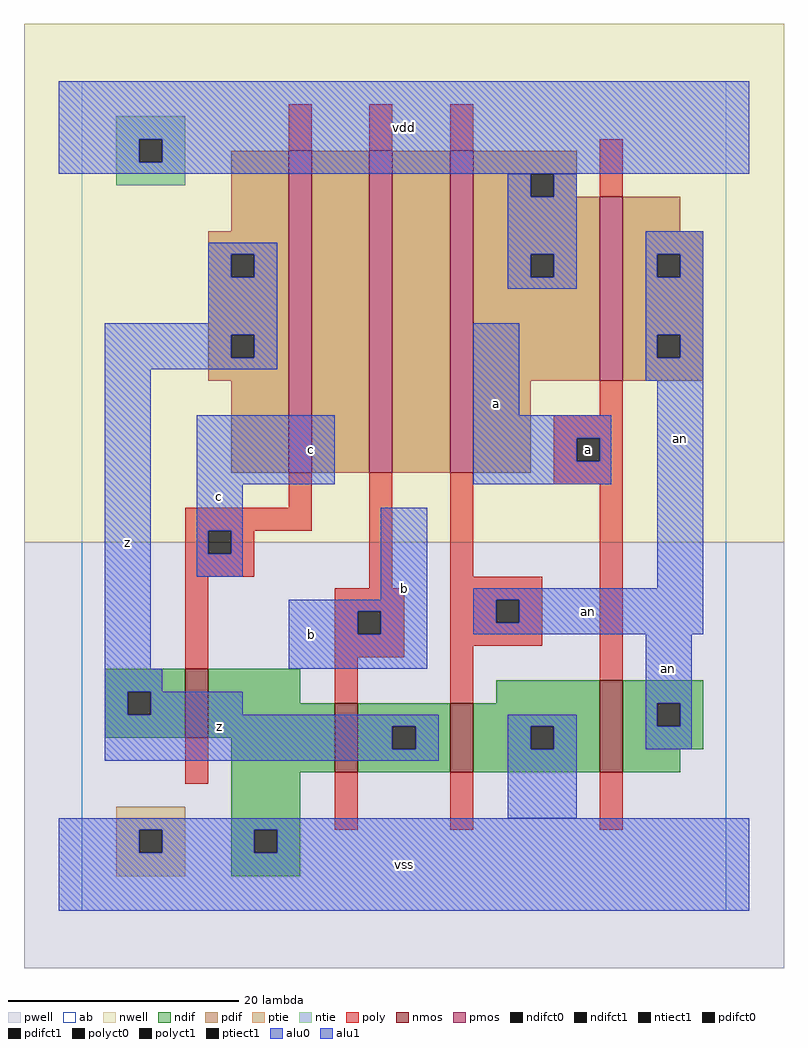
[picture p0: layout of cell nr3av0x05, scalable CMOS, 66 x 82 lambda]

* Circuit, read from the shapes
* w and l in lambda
.subckt nr3av0x05 a an b c vdd vss z
M1 vss c z vss nfet w=6 l=2
M2 z b vss vss nfet w=6 l=2
M3 vss an z vss nfet w=6 l=2
M4 an a vss vss nfet w=8 l=2
M5 n1 c z vdd pfet w=28 l=2
M6 n2 b n1 vdd pfet w=28 l=2
M7 vdd an n2 vdd pfet w=28 l=2
M8 an a vdd vdd pfet w=16 l=2
.ends

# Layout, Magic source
magic
tech scmos
<< ab >>
rect 0 0 56 72
<< nwell >>
rect -5 32 61 77
<< pwell >>
rect -5 -5 61 32
<< poly >>
rect 18 66 20 70
rect 25 66 27 70
rect 32 66 34 70
rect 45 62 47 67
rect 45 43 47 46
rect 41 41 47 43
rect 41 39 43 41
rect 45 39 47 41
rect 18 35 20 38
rect 9 33 20 35
rect 9 31 11 33
rect 13 31 15 33
rect 9 29 15 31
rect 9 21 11 29
rect 25 28 27 38
rect 32 29 34 38
rect 41 37 47 39
rect 22 26 28 28
rect 22 24 24 26
rect 26 24 28 26
rect 22 22 28 24
rect 32 27 40 29
rect 32 25 36 27
rect 38 25 40 27
rect 32 23 40 25
rect 22 18 24 22
rect 32 18 34 23
rect 45 20 47 37
rect 9 11 11 15
rect 22 7 24 12
rect 32 7 34 12
rect 45 7 47 12
<< ndif >>
rect 2 19 9 21
rect 2 17 4 19
rect 6 17 9 19
rect 2 15 9 17
rect 11 18 19 21
rect 36 18 45 20
rect 11 15 22 18
rect 13 12 22 15
rect 24 16 32 18
rect 24 14 27 16
rect 29 14 32 16
rect 24 12 32 14
rect 34 16 45 18
rect 34 14 39 16
rect 41 14 45 16
rect 34 12 45 14
rect 47 18 54 20
rect 47 16 50 18
rect 52 16 54 18
rect 47 14 54 16
rect 47 12 52 14
rect 13 7 19 12
rect 13 5 15 7
rect 17 5 19 7
rect 13 3 19 5
<< pdif >>
rect 13 59 18 66
rect 11 57 18 59
rect 11 55 13 57
rect 15 55 18 57
rect 11 50 18 55
rect 11 48 13 50
rect 15 48 18 50
rect 11 46 18 48
rect 13 38 18 46
rect 20 38 25 66
rect 27 38 32 66
rect 34 64 43 66
rect 34 62 39 64
rect 41 62 43 64
rect 34 57 45 62
rect 34 55 39 57
rect 41 55 45 57
rect 34 46 45 55
rect 47 59 52 62
rect 47 57 54 59
rect 47 55 50 57
rect 52 55 54 57
rect 47 50 54 55
rect 47 48 50 50
rect 52 48 54 50
rect 47 46 54 48
rect 34 38 39 46
<< alu1 >>
rect -2 67 58 72
rect -2 65 5 67
rect 7 65 58 67
rect -2 64 58 65
rect 11 57 17 58
rect 11 55 13 57
rect 15 55 17 57
rect 11 51 17 55
rect 2 50 17 51
rect 2 48 13 50
rect 15 48 17 50
rect 2 47 17 48
rect 2 21 6 47
rect 34 43 38 51
rect 10 37 22 43
rect 34 41 46 43
rect 34 39 43 41
rect 45 39 46 41
rect 34 37 46 39
rect 10 33 14 37
rect 10 31 11 33
rect 13 31 14 33
rect 10 29 14 31
rect 26 27 30 35
rect 18 26 30 27
rect 18 24 24 26
rect 26 24 30 26
rect 18 21 30 24
rect 2 19 7 21
rect 2 17 4 19
rect 6 17 14 19
rect 2 16 31 17
rect 2 14 27 16
rect 29 14 31 16
rect 2 13 31 14
rect -2 7 58 8
rect -2 5 5 7
rect 7 5 15 7
rect 17 5 58 7
rect -2 0 58 5
<< ptie >>
rect 3 7 9 9
rect 3 5 5 7
rect 7 5 9 7
rect 3 3 9 5
<< ntie >>
rect 3 67 9 69
rect 3 65 5 67
rect 7 65 9 67
rect 3 63 9 65
<< nmos >>
rect 9 15 11 21
rect 22 12 24 18
rect 32 12 34 18
rect 45 12 47 20
<< pmos >>
rect 18 38 20 66
rect 25 38 27 66
rect 32 38 34 66
rect 45 46 47 62
<< polyct0 >>
rect 36 25 38 27
<< polyct1 >>
rect 43 39 45 41
rect 11 31 13 33
rect 24 24 26 26
<< ndifct0 >>
rect 39 14 41 16
rect 50 16 52 18
<< ndifct1 >>
rect 4 17 6 19
rect 27 14 29 16
rect 15 5 17 7
<< ntiect1 >>
rect 5 65 7 67
<< ptiect1 >>
rect 5 5 7 7
<< pdifct0 >>
rect 39 62 41 64
rect 39 55 41 57
rect 50 55 52 57
rect 50 48 52 50
<< pdifct1 >>
rect 13 55 15 57
rect 13 48 15 50
<< alu0 >>
rect 37 62 39 64
rect 41 62 43 64
rect 37 57 43 62
rect 37 55 39 57
rect 41 55 43 57
rect 37 54 43 55
rect 49 57 54 59
rect 49 55 50 57
rect 52 55 54 57
rect 49 50 54 55
rect 49 48 50 50
rect 52 48 54 50
rect 49 46 54 48
rect 50 28 54 46
rect 34 27 54 28
rect 34 25 36 27
rect 38 25 54 27
rect 34 24 54 25
rect 49 18 53 24
rect 37 16 43 17
rect 37 14 39 16
rect 41 14 43 16
rect 49 16 50 18
rect 52 16 53 18
rect 49 14 53 16
rect 37 8 43 14
<< labels >>
rlabel alu0 51 21 51 21 6 an
rlabel alu0 44 26 44 26 6 an
rlabel alu0 52 41 52 41 6 an
rlabel alu1 4 32 4 32 6 z
rlabel alu1 12 16 12 16 6 z
rlabel alu1 20 24 20 24 6 b
rlabel alu1 20 40 20 40 6 c
rlabel alu1 12 36 12 36 6 c
rlabel alu1 28 4 28 4 6 vss
rlabel alu1 28 28 28 28 6 b
rlabel alu1 36 44 36 44 6 a
rlabel alu1 28 68 28 68 6 vdd
rlabel polyct1 44 40 44 40 6 a
<< end >>
